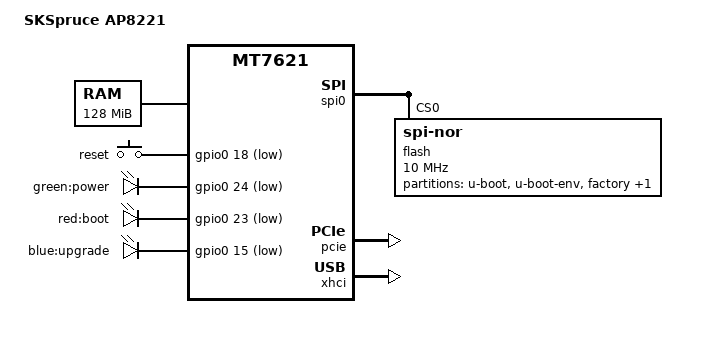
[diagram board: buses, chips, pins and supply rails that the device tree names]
/dts-v1/;

#include "mt7621.dtsi"

#include <dt-bindings/gpio/gpio.h>
#include <dt-bindings/input/input.h>

/ {
	compatible = "skspruce,ap8221", "mediatek,mt7621-soc";
	model = "SKSpruce AP8221";

	memory@0 {
		device_type = "memory";
		reg = <0x0 0x8000000>;
	};

	chosen {
		bootargs = "console=ttyS0,115200";
	};

	aliases {
		led-boot = &led_power;
		led-failsafe = &led_power;
		led-running = &led_power;
		led-upgrade = &led_boot;
	};

	keys {
		compatible = "gpio-keys";

		reset {
			label = "reset";
			gpios = <&gpio0 18 GPIO_ACTIVE_LOW>;
			linux,code = <KEY_RESTART>;
		};
	};

	leds {
		compatible = "gpio-leds";

		led_power: power {
			label = "green:power";
			gpios = <&gpio0 24 GPIO_ACTIVE_LOW>;
			default-state = "on";
		};

		led_boot: boot {
			label = "red:boot";
			gpios = <&gpio0 23 GPIO_ACTIVE_LOW>;
			default-state = "off";
		};

		led_upgrade: upgrade {
			label = "blue:upgrade";
			gpios = <&gpio0 15 GPIO_ACTIVE_LOW>;
			default-state = "off";
		};
	};
};

&spi0 {
	status = "okay";

	flash@0 {
		compatible = "jedec,spi-nor";
		reg = <0>;
		spi-max-frequency = <10000000>;

		partitions {
			compatible = "fixed-partitions";
			#address-cells = <1>;
			#size-cells = <1>;

			partition@0 {
				label = "u-boot";
				reg = <0x000000 0x030000>;
				read-only;
			};

			partition@30000 {
				label = "u-boot-env";
				reg = <0x030000 0x010000>;
			};

			factory: partition@40000 {
				label = "factory";
				reg = <0x040000 0x010000>;
				read-only;
			};

			partition@50000 {
				compatible = "denx,uimage";
				label = "firmware";
				reg = <0x050000 0x1fb0000>;
			};
		};
	};
};

&pcie {
	status = "okay";
};

&pcie0 {
	mt76@0,0 {
		reg = <0x0000 0 0 0 0>;
		mediatek,mtd-eeprom = <&factory 0x0>;
	};
};

&ethernet {
	mtd-mac-address = <&factory 0xe000>;
};

&gsw {
	mediatek,portmap = <0x11>;
};

&xhci {
	status = "okay";
};
